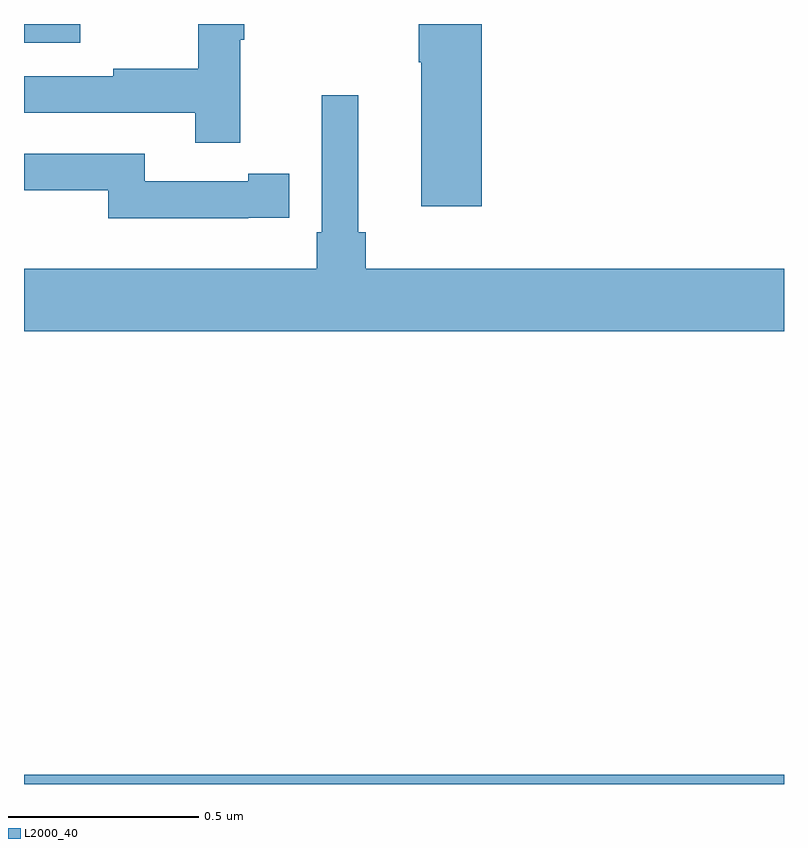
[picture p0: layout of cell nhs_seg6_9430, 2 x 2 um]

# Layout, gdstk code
import gdstk
lib = gdstk.Library(unit=1e-6, precision=1e-09)
def R(c, l, rs):  # rectangles x0, y0, x1, y1
    for r in rs: c.add(gdstk.rectangle(r[:2], r[2:], *l))
def P(c, l, *ps):  # polygons
    for p in ps: c.add(gdstk.Polygon(p, *l))
L2000_40 = (2000, 40)

nhs_seg6_9430 = lib.new_cell('nhs_seg6_9430')
R(nhs_seg6_9430, L2000_40, [(234,923.5,236,923.524), (234,925.451,234.148,925.5)])
P(nhs_seg6_9430, L2000_40, [(234.569,925.459),(234.58,925.459),(234.58,925.5),(234.459,925.5),(234.459,925.382),(234.235,925.382),(234.235,925.362),(234,925.362),(234,925.266),(234.451,925.266),(234.451,925.188),(234.569,925.188)],
  [(235.205,925.5),(235.039,925.5),(235.039,925.399),(235.046,925.399),(235.046,925.02),(235.205,925.02)],
  [(236,924.856),(234.899,924.856),(234.899,924.952),(234.88,924.952),(234.88,925.312),(234.783,925.312),(234.783,924.952),(234.77,924.952),(234.77,924.856),(234,924.856),(234,924.692),(236,924.692)],
  [(234.59,924.99),(234.698,924.99),(234.698,925.106),(234.59,925.106),(234.59,925.086),(234.318,925.086),(234.318,925.158),(234,925.158),(234,925.062),(234.222,925.062),(234.222,924.989),(234.59,924.989)])

lib.write_gds('nhs_seg6_9430.gds')
